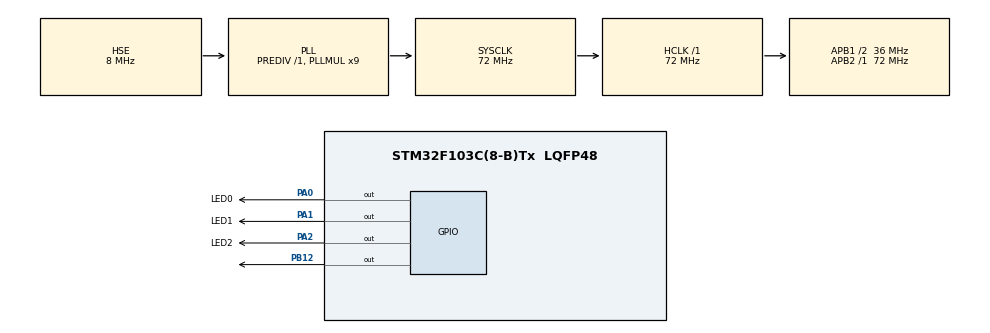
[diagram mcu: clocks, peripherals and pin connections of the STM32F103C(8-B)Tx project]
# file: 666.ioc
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Mcu.Family=STM32F1
Mcu.Name=STM32F103C(8-B)Tx
Mcu.Package=LQFP48
NVIC.PriorityGroup=NVIC_PRIORITYGROUP_4
NVIC.TIM1_UP_IRQn=true\:0\:0\:false\:false\:true\:true\:true\:true
PA0-WKUP.GPIO_Label=LED0
PA0-WKUP.Signal=GPIO_Output
PA1.GPIO_Label=LED1
PA1.Signal=GPIO_Output
PA13.Mode=Serial_Wire
PA13.Signal=SYS_JTMS-SWDIO
PA14.Mode=Serial_Wire
PA14.Signal=SYS_JTCK-SWCLK
PA2.GPIO_Label=LED2
PA2.Signal=GPIO_Output
PB12.Signal=GPIO_Output
PC14-OSC32_IN.Mode=LSE-External-Oscillator
PC14-OSC32_IN.Signal=RCC_OSC32_IN
PC15-OSC32_OUT.Mode=LSE-External-Oscillator
PC15-OSC32_OUT.Signal=RCC_OSC32_OUT
PD0-OSC_IN.Mode=HSE-External-Oscillator
PD0-OSC_IN.Signal=RCC_OSC_IN
PD1-OSC_OUT.Mode=HSE-External-Oscillator
PD1-OSC_OUT.Signal=RCC_OSC_OUT
ProjectManager.HeapSize=0x200
ProjectManager.StackSize=0x400
ProjectManager.TargetToolchain=STM32CubeIDE
RCC.AHBFreq_Value=72000000
RCC.APB1CLKDivider=RCC_HCLK_DIV2
RCC.APB1Freq_Value=36000000
RCC.APB1TimFreq_Value=72000000
RCC.APB2Freq_Value=72000000
RCC.APB2TimFreq_Value=72000000
RCC.HCLKFreq_Value=72000000
RCC.PLLMUL=RCC_PLL_MUL9
RCC.PLLSourceVirtual=RCC_PLLSOURCE_HSE
RCC.SYSCLKFreq_VALUE=72000000
RCC.SYSCLKSource=RCC_SYSCLKSOURCE_PLLCLK
RCC.USBFreq_Value=72000000
TIM1.Period=1000
TIM1.Prescaler=72
VP_TIM1_VS_ClockSourceINT.Mode=Internal
board=custom

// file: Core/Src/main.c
/* USER CODE BEGIN Header */
/**
  ******************************************************************************
  * @file           : main.c
  * @brief          : Main program body
  ******************************************************************************
  * @attention
  *
  * Copyright (c) 2026 STMicroelectronics.
  * All rights reserved.
  *
  * This software is licensed under terms that can be found in the LICENSE file
  * in the root directory of this software component.
  * If no LICENSE file comes with this software, it is provided AS-IS.
  *
  ******************************************************************************
  */
/* USER CODE END Header */
#include "main.h"
#include "tim.h"
#include "gpio.h"

/* USER CODE BEGIN PV */
volatile uint32_t time_count = 0;
volatile uint32_t last_led_time = 0;
uint8_t sled_index = 0;
/* USER CODE END PV */

void SystemClock_Config(void);

int main(void)
{

  /* MCU Configuration--------------------------------------------------------*/

  /* Reset of all peripherals, Initializes the Flash interface and the Systick. */
  HAL_Init();

  /* Configure the system clock */
  SystemClock_Config();

  /* Initialize all configured peripherals */
  MX_GPIO_Init();
  MX_TIM1_Init();
  /* USER CODE BEGIN 2 */
  HAL_TIM_Base_Start_IT(&htim1);
  /* USER CODE END 2 */

  /* Infinite loop */
  while (1)
  {

    /* USER CODE BEGIN 3 */
      if (time_count - last_led_time >= 500)
      {
        last_led_time = time_count;

        HAL_GPIO_WritePin(LED0_GPIO_Port, LED0_Pin, GPIO_PIN_RESET);
        HAL_GPIO_WritePin(LED1_GPIO_Port, LED1_Pin, GPIO_PIN_RESET);
        HAL_GPIO_WritePin(LED2_GPIO_Port, LED2_Pin, GPIO_PIN_RESET);

        switch(sled_index)
        {
        case 0:
          HAL_GPIO_WritePin(LED0_GPIO_Port, LED0_Pin, GPIO_PIN_SET);
          break;
        case 1:
          HAL_GPIO_WritePin(LED1_GPIO_Port, LED1_Pin, GPIO_PIN_SET);
          break;
        case 2:
          HAL_GPIO_WritePin(LED2_GPIO_Port, LED2_Pin, GPIO_PIN_SET);
          break;
        }

        sled_index++;
        if (sled_index > 2)
        {
          sled_index = 0;
        }
      }
  }
  /* USER CODE END 3 */
}

void SystemClock_Config(void)
{
  RCC_OscInitTypeDef RCC_OscInitStruct = {0};
  RCC_ClkInitTypeDef RCC_ClkInitStruct = {0};

  /** Initializes the RCC Oscillators according to the specified parameters
  * in the RCC_OscInitTypeDef structure.
  */
  RCC_OscInitStruct.OscillatorType = RCC_OSCILLATORTYPE_HSE;
  RCC_OscInitStruct.HSEState = RCC_HSE_ON;
  RCC_OscInitStruct.HSEPredivValue = RCC_HSE_PREDIV_DIV1;
  RCC_OscInitStruct.HSIState = RCC_HSI_ON;
  RCC_OscInitStruct.PLL.PLLState = RCC_PLL_ON;
  RCC_OscInitStruct.PLL.PLLSource = RCC_PLLSOURCE_HSE;
  RCC_OscInitStruct.PLL.PLLMUL = RCC_PLL_MUL9;
  if (HAL_RCC_OscConfig(&RCC_OscInitStruct) != HAL_OK)
  {
    Error_Handler();
  }

  /** Initializes the CPU, AHB and APB buses clocks
  */
  RCC_ClkInitStruct.ClockType = RCC_CLOCKTYPE_HCLK|RCC_CLOCKTYPE_SYSCLK
                              |RCC_CLOCKTYPE_PCLK1|RCC_CLOCKTYPE_PCLK2;
  RCC_ClkInitStruct.SYSCLKSource = RCC_SYSCLKSOURCE_PLLCLK;
  RCC_ClkInitStruct.AHBCLKDivider = RCC_SYSCLK_DIV1;
  RCC_ClkInitStruct.APB1CLKDivider = RCC_HCLK_DIV2;
  RCC_ClkInitStruct.APB2CLKDivider = RCC_HCLK_DIV1;

  if (HAL_RCC_ClockConfig(&RCC_ClkInitStruct, FLASH_LATENCY_2) != HAL_OK)
  {
    Error_Handler();
  }
}

/* USER CODE BEGIN 4 */
void HAL_TIM_PeriodElapsedCallback(TIM_HandleTypeDef *htim)
{
  if (htim->Instance == TIM1)
  {
    time_count++;
  }
}
/* USER CODE END 4 */

void Error_Handler(void)
{
  __disable_irq();
  while (1)
  {
  }
}
